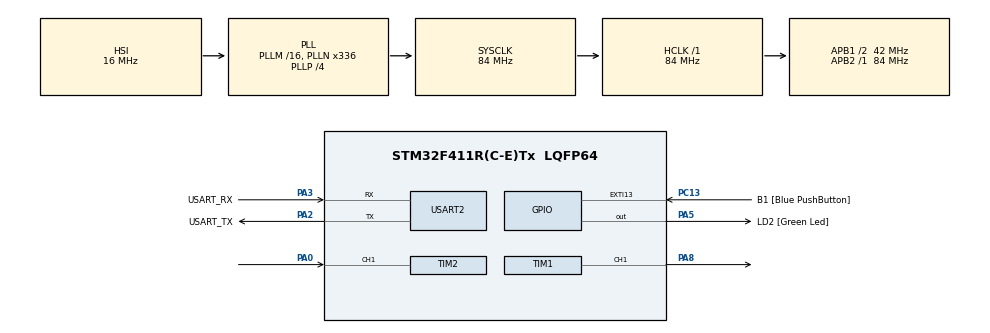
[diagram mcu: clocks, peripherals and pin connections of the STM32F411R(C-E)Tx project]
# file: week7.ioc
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Dma.Request0=TIM2_CH1
Dma.TIM2_CH1.0.Direction=DMA_PERIPH_TO_MEMORY
Dma.TIM2_CH1.0.FIFOMode=DMA_FIFOMODE_DISABLE
Dma.TIM2_CH1.0.Instance=DMA1_Stream5
Dma.TIM2_CH1.0.MemDataAlignment=DMA_MDATAALIGN_WORD
Dma.TIM2_CH1.0.MemInc=DMA_MINC_ENABLE
Dma.TIM2_CH1.0.Mode=DMA_CIRCULAR
Dma.TIM2_CH1.0.PeriphDataAlignment=DMA_PDATAALIGN_WORD
Dma.TIM2_CH1.0.PeriphInc=DMA_PINC_DISABLE
Dma.TIM2_CH1.0.Priority=DMA_PRIORITY_LOW
Mcu.Family=STM32F4
Mcu.Name=STM32F411R(C-E)Tx
Mcu.Package=LQFP64
NVIC.DMA1_Stream5_IRQn=true\:0\:0\:false\:false\:true\:false\:true\:true
NVIC.PriorityGroup=NVIC_PRIORITYGROUP_0
NVIC.TIM2_IRQn=true\:0\:0\:false\:false\:true\:true\:true\:true
PA0-WKUP.Signal=S_TIM2_CH1_ETR
PA13.GPIO_Label=TMS
PA13.Mode=Serial_Wire
PA13.Signal=SYS_JTMS-SWDIO
PA14.GPIO_Label=TCK
PA14.Mode=Serial_Wire
PA14.Signal=SYS_JTCK-SWCLK
PA2.GPIO_Label=USART_TX
PA2.Mode=Asynchronous
PA2.Signal=USART2_TX
PA3.GPIO_Label=USART_RX
PA3.Mode=Asynchronous
PA3.Signal=USART2_RX
PA5.GPIO_Label=LD2 [Green Led]
PA5.Signal=GPIO_Output
PA8.Signal=S_TIM1_CH1
PB3.GPIO_Label=SWO
PB3.Signal=SYS_JTDO-SWO
PC13-ANTI_TAMP.GPIO_Label=B1 [Blue PushButton]
PC13-ANTI_TAMP.GPIO_ModeDefaultEXTI=GPIO_MODE_IT_FALLING
PC13-ANTI_TAMP.Signal=GPXTI13
PC14-OSC32_IN.Mode=LSE-External-Oscillator
PC14-OSC32_IN.Signal=RCC_OSC32_IN
PC15-OSC32_OUT.Mode=LSE-External-Oscillator
PC15-OSC32_OUT.Signal=RCC_OSC32_OUT
PH0\ -\ OSC_IN.Mode=HSE-External-Clock-Source
PH0\ -\ OSC_IN.Signal=RCC_OSC_IN
PH1\ -\ OSC_OUT.Mode=HSE-External-Clock-Source
PH1\ -\ OSC_OUT.Signal=RCC_OSC_OUT
ProjectManager.HeapSize=0x200
ProjectManager.StackSize=0x400
ProjectManager.TargetToolchain=STM32CubeIDE
RCC.48MHZClocksFreq_Value=84000000
RCC.AHBFreq_Value=84000000
RCC.APB1CLKDivider=RCC_HCLK_DIV2
RCC.APB1Freq_Value=42000000
RCC.APB1TimFreq_Value=84000000
RCC.APB2Freq_Value=84000000
RCC.APB2TimFreq_Value=84000000
RCC.CortexFreq_Value=84000000
RCC.FLatency-AdvancedSettings=FLASH_LATENCY_2
RCC.HCLKFreq_Value=84000000
RCC.HSE_VALUE=8000000
RCC.HSI_VALUE=16000000
RCC.PLLN=336
RCC.PLLP=RCC_PLLP_DIV4
RCC.SYSCLKFreq_VALUE=84000000
RCC.SYSCLKSource=RCC_SYSCLKSOURCE_PLLCLK
RCC.VCOOutputFreq_Value=336000000
SH.S_TIM1_CH1.0=TIM1_CH1,PWM Generation1 CH1
SH.S_TIM2_CH1_ETR.0=TIM2_CH1,Input_Capture1_from_TI1
TIM1.Channel-PWM\ Generation1\ CH1=TIM_CHANNEL_1
TIM1.Period=999
TIM1.Prescaler=83
TIM1.Pulse-PWM\ Generation1\ CH1=0
TIM2.Channel-Input_Capture1_from_TI1=TIM_CHANNEL_1
TIM2.Period=294967295
TIM2.Prescaler=83
USART2.VirtualMode=VM_ASYNC
VP_TIM1_VS_ClockSourceINT.Mode=Internal
VP_TIM2_VS_ClockSourceINT.Mode=Internal
board=NUCLEO-F411RE

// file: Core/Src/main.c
/* USER CODE BEGIN Header */
/**
 ******************************************************************************
 * @file           : main.c
 * @brief          : Main program body
 ******************************************************************************
 * @attention
 *
 * Copyright (c) 2023 STMicroelectronics.
 * All rights reserved.
 *
 * This software is licensed under terms that can be found in the LICENSE file
 * in the root directory of this software component.
 * If no LICENSE file comes with this software, it is provided AS-IS.
 *
 ******************************************************************************
 */
/* USER CODE END Header */
#include "main.h"

/* USER CODE BEGIN Includes */
#define IC_BUFFER_SIZE 20
/* USER CODE END Includes */

TIM_HandleTypeDef htim1;
TIM_HandleTypeDef htim2;
DMA_HandleTypeDef hdma_tim2_ch1;

UART_HandleTypeDef huart2;

/* USER CODE BEGIN PV */
uint32_t InputCaptureBuffer[IC_BUFFER_SIZE];
float averageRissingedgePeriod;
uint32_t MotorSetDuty = 0;
uint32_t MotorReadRPM = 0;
uint32_t MotorControlEnable = 0;
uint32_t MotorSetRPM = 0;
/* USER CODE END PV */

void SystemClock_Config(void);
static void MX_GPIO_Init(void);
static void MX_DMA_Init(void);
static void MX_USART2_UART_Init(void);
static void MX_TIM2_Init(void);
static void MX_TIM1_Init(void);
/* USER CODE BEGIN PFP */
float IC_Calc_Period();
/* USER CODE END PFP */

int main(void) {

	/* MCU Configuration--------------------------------------------------------*/

	/* Reset of all peripherals, Initializes the Flash interface and the Systick. */
	HAL_Init();

	/* Configure the system clock */
	SystemClock_Config();

	/* Initialize all configured peripherals */
	MX_GPIO_Init();
	MX_DMA_Init();
	MX_USART2_UART_Init();
	MX_TIM2_Init();
	MX_TIM1_Init();
	/* USER CODE BEGIN 2 */
	HAL_TIM_Base_Start(&htim2);
	HAL_TIM_IC_Start_DMA(&htim2, TIM_CHANNEL_1, InputCaptureBuffer,
	IC_BUFFER_SIZE);
	HAL_TIM_Base_Start(&htim1);
	HAL_TIM_PWM_Start(&htim1, TIM_CHANNEL_1);
	/* USER CODE END 2 */

	/* Infinite loop */
	while (1) {

		/* USER CODE BEGIN 3 */
		static uint32_t timestamp = 0;
		if (MotorControlEnable == 1) {
			if (HAL_GetTick() >= timestamp) {
				if (MotorReadRPM > MotorSetRPM) {
					MotorSetDuty = MotorSetDuty - 1;
				} else if (MotorReadRPM < MotorSetRPM) {
					MotorSetDuty = MotorSetDuty + 1;
				}
				timestamp = HAL_GetTick() + 500;
				averageRissingedgePeriod = IC_Calc_Period();
				__HAL_TIM_SET_COMPARE(&htim1, TIM_CHANNEL_1, MotorSetDuty * 10);
				MotorReadRPM = (1000000) * 60 / 12 / 64
						/ averageRissingedgePeriod;

			}
		} else if (MotorControlEnable == 0) {
			if (HAL_GetTick() >= timestamp) {
				timestamp = HAL_GetTick() + 500;
				averageRissingedgePeriod = IC_Calc_Period();
				__HAL_TIM_SET_COMPARE(&htim1, TIM_CHANNEL_1, MotorSetDuty * 10);
				MotorReadRPM = (1000000) * 60 / 12 / 64
						/ averageRissingedgePeriod;
			}
			MotorSetRPM = MotorReadRPM;
			if (MotorSetDuty == 0) {
				averageRissingedgePeriod = 0;
				MotorReadRPM = 0;
			}
		}
	}
	/* USER CODE END 3 */
}

void SystemClock_Config(void) {
	RCC_OscInitTypeDef RCC_OscInitStruct = { 0 };
	RCC_ClkInitTypeDef RCC_ClkInitStruct = { 0 };

	/** Configure the main internal regulator output voltage
	 */
	__HAL_RCC_PWR_CLK_ENABLE();
	__HAL_PWR_VOLTAGESCALING_CONFIG(PWR_REGULATOR_VOLTAGE_SCALE1);

	/** Initializes the RCC Oscillators according to the specified parameters
	 * in the RCC_OscInitTypeDef structure.
	 */
	RCC_OscInitStruct.OscillatorType = RCC_OSCILLATORTYPE_HSI;
	RCC_OscInitStruct.HSIState = RCC_HSI_ON;
	RCC_OscInitStruct.HSICalibrationValue = RCC_HSICALIBRATION_DEFAULT;
	RCC_OscInitStruct.PLL.PLLState = RCC_PLL_ON;
	RCC_OscInitStruct.PLL.PLLSource = RCC_PLLSOURCE_HSI;
	RCC_OscInitStruct.PLL.PLLM = 16;
	RCC_OscInitStruct.PLL.PLLN = 336;
	RCC_OscInitStruct.PLL.PLLP = RCC_PLLP_DIV4;
	RCC_OscInitStruct.PLL.PLLQ = 4;
	if (HAL_RCC_OscConfig(&RCC_OscInitStruct) != HAL_OK) {
		Error_Handler();
	}

	/** Initializes the CPU, AHB and APB buses clocks
	 */
	RCC_ClkInitStruct.ClockType = RCC_CLOCKTYPE_HCLK | RCC_CLOCKTYPE_SYSCLK
			| RCC_CLOCKTYPE_PCLK1 | RCC_CLOCKTYPE_PCLK2;
	RCC_ClkInitStruct.SYSCLKSource = RCC_SYSCLKSOURCE_PLLCLK;
	RCC_ClkInitStruct.AHBCLKDivider = RCC_SYSCLK_DIV1;
	RCC_ClkInitStruct.APB1CLKDivider = RCC_HCLK_DIV2;
	RCC_ClkInitStruct.APB2CLKDivider = RCC_HCLK_DIV1;

	if (HAL_RCC_ClockConfig(&RCC_ClkInitStruct, FLASH_LATENCY_2) != HAL_OK) {
		Error_Handler();
	}
}

static void MX_TIM1_Init(void) {

	TIM_ClockConfigTypeDef sClockSourceConfig = { 0 };
	TIM_MasterConfigTypeDef sMasterConfig = { 0 };
	TIM_OC_InitTypeDef sConfigOC = { 0 };
	TIM_BreakDeadTimeConfigTypeDef sBreakDeadTimeConfig = { 0 };

	htim1.Instance = TIM1;
	htim1.Init.Prescaler = 83;
	htim1.Init.CounterMode = TIM_COUNTERMODE_UP;
	htim1.Init.Period = 999;
	htim1.Init.ClockDivision = TIM_CLOCKDIVISION_DIV1;
	htim1.Init.RepetitionCounter = 0;
	htim1.Init.AutoReloadPreload = TIM_AUTORELOAD_PRELOAD_DISABLE;
	if (HAL_TIM_Base_Init(&htim1) != HAL_OK) {
		Error_Handler();
	}
	sClockSourceConfig.ClockSource = TIM_CLOCKSOURCE_INTERNAL;
	if (HAL_TIM_ConfigClockSource(&htim1, &sClockSourceConfig) != HAL_OK) {
		Error_Handler();
	}
	if (HAL_TIM_PWM_Init(&htim1) != HAL_OK) {
		Error_Handler();
	}
	sMasterConfig.MasterOutputTrigger = TIM_TRGO_RESET;
	sMasterConfig.MasterSlaveMode = TIM_MASTERSLAVEMODE_DISABLE;
	if (HAL_TIMEx_MasterConfigSynchronization(&htim1, &sMasterConfig)
			!= HAL_OK) {
		Error_Handler();
	}
	sConfigOC.OCMode = TIM_OCMODE_PWM1;
	sConfigOC.Pulse = 500;
	sConfigOC.OCPolarity = TIM_OCPOLARITY_HIGH;
	sConfigOC.OCNPolarity = TIM_OCNPOLARITY_HIGH;
	sConfigOC.OCFastMode = TIM_OCFAST_DISABLE;
	sConfigOC.OCIdleState = TIM_OCIDLESTATE_RESET;
	sConfigOC.OCNIdleState = TIM_OCNIDLESTATE_RESET;
	if (HAL_TIM_PWM_ConfigChannel(&htim1, &sConfigOC, TIM_CHANNEL_1)
			!= HAL_OK) {
		Error_Handler();
	}
	sBreakDeadTimeConfig.OffStateRunMode = TIM_OSSR_DISABLE;
	sBreakDeadTimeConfig.OffStateIDLEMode = TIM_OSSI_DISABLE;
	sBreakDeadTimeConfig.LockLevel = TIM_LOCKLEVEL_OFF;
	sBreakDeadTimeConfig.DeadTime = 0;
	sBreakDeadTimeConfig.BreakState = TIM_BREAK_DISABLE;
	sBreakDeadTimeConfig.BreakPolarity = TIM_BREAKPOLARITY_HIGH;
	sBreakDeadTimeConfig.AutomaticOutput = TIM_AUTOMATICOUTPUT_DISABLE;
	if (HAL_TIMEx_ConfigBreakDeadTime(&htim1, &sBreakDeadTimeConfig)
			!= HAL_OK) {
		Error_Handler();
	}
	HAL_TIM_MspPostInit(&htim1);

}

static void MX_TIM2_Init(void) {

	TIM_ClockConfigTypeDef sClockSourceConfig = { 0 };
	TIM_MasterConfigTypeDef sMasterConfig = { 0 };
	TIM_IC_InitTypeDef sConfigIC = { 0 };

	htim2.Instance = TIM2;
	htim2.Init.Prescaler = 83;
	htim2.Init.CounterMode = TIM_COUNTERMODE_UP;
	htim2.Init.Period = 294967295;
	htim2.Init.ClockDivision = TIM_CLOCKDIVISION_DIV1;
	htim2.Init.AutoReloadPreload = TIM_AUTORELOAD_PRELOAD_DISABLE;
	if (HAL_TIM_Base_Init(&htim2) != HAL_OK) {
		Error_Handler();
	}
	sClockSourceConfig.ClockSource = TIM_CLOCKSOURCE_INTERNAL;
	if (HAL_TIM_ConfigClockSource(&htim2, &sClockSourceConfig) != HAL_OK) {
		Error_Handler();
	}
	if (HAL_TIM_IC_Init(&htim2) != HAL_OK) {
		Error_Handler();
	}
	sMasterConfig.MasterOutputTrigger = TIM_TRGO_RESET;
	sMasterConfig.MasterSlaveMode = TIM_MASTERSLAVEMODE_DISABLE;
	if (HAL_TIMEx_MasterConfigSynchronization(&htim2, &sMasterConfig)
			!= HAL_OK) {
		Error_Handler();
	}
	sConfigIC.ICPolarity = TIM_INPUTCHANNELPOLARITY_RISING;
	sConfigIC.ICSelection = TIM_ICSELECTION_DIRECTTI;
	sConfigIC.ICPrescaler = TIM_ICPSC_DIV1;
	sConfigIC.ICFilter = 0;
	if (HAL_TIM_IC_ConfigChannel(&htim2, &sConfigIC, TIM_CHANNEL_1) != HAL_OK) {
		Error_Handler();
	}

}

static void MX_USART2_UART_Init(void) {

	huart2.Instance = USART2;
	huart2.Init.BaudRate = 115200;
	huart2.Init.WordLength = UART_WORDLENGTH_8B;
	huart2.Init.StopBits = UART_STOPBITS_1;
	huart2.Init.Parity = UART_PARITY_NONE;
	huart2.Init.Mode = UART_MODE_TX_RX;
	huart2.Init.HwFlowCtl = UART_HWCONTROL_NONE;
	huart2.Init.OverSampling = UART_OVERSAMPLING_16;
	if (HAL_UART_Init(&huart2) != HAL_OK) {
		Error_Handler();
	}

}

static void MX_DMA_Init(void) {

	/* DMA controller clock enable */
	__HAL_RCC_DMA1_CLK_ENABLE();

	/* DMA interrupt init */
	/* DMA1_Stream5_IRQn interrupt configuration */
	HAL_NVIC_SetPriority(DMA1_Stream5_IRQn, 0, 0);
	HAL_NVIC_EnableIRQ(DMA1_Stream5_IRQn);

}

static void MX_GPIO_Init(void) {
	GPIO_InitTypeDef GPIO_InitStruct = { 0 };

	/* GPIO Ports Clock Enable */
	__HAL_RCC_GPIOC_CLK_ENABLE();
	__HAL_RCC_GPIOH_CLK_ENABLE();
	__HAL_RCC_GPIOA_CLK_ENABLE();
	__HAL_RCC_GPIOB_CLK_ENABLE();

	/*Configure GPIO pin Output Level */
	HAL_GPIO_WritePin(LD2_GPIO_Port, LD2_Pin, GPIO_PIN_RESET);

	/*Configure GPIO pin : B1_Pin */
	GPIO_InitStruct.Pin = B1_Pin;
	GPIO_InitStruct.Mode = GPIO_MODE_IT_FALLING;
	GPIO_InitStruct.Pull = GPIO_NOPULL;
	HAL_GPIO_Init(B1_GPIO_Port, &GPIO_InitStruct);

	/*Configure GPIO pin : LD2_Pin */
	GPIO_InitStruct.Pin = LD2_Pin;
	GPIO_InitStruct.Mode = GPIO_MODE_OUTPUT_PP;
	GPIO_InitStruct.Pull = GPIO_NOPULL;
	GPIO_InitStruct.Speed = GPIO_SPEED_FREQ_LOW;
	HAL_GPIO_Init(LD2_GPIO_Port, &GPIO_InitStruct);

}

/* USER CODE BEGIN 4 */
float IC_Calc_Period() {
	uint32_t currentDMAPointer = IC_BUFFER_SIZE
			- __HAL_DMA_GET_COUNTER((htim2.hdma[1]));
	uint32_t lastValidPointer = (currentDMAPointer - 1 + IC_BUFFER_SIZE)
			% IC_BUFFER_SIZE;
	uint32_t i = (lastValidPointer + IC_BUFFER_SIZE - 6) % IC_BUFFER_SIZE;
	uint32_t sumdiff = 0;
	while (i != lastValidPointer) {
		uint32_t FirstCapture = InputCaptureBuffer[i];
		uint32_t NextCapture = InputCaptureBuffer[(i + 1) % IC_BUFFER_SIZE];
		sumdiff += NextCapture - FirstCapture;
		i = (i + 1) % IC_BUFFER_SIZE;
	}
	return sumdiff / 5.0;
}
/* USER CODE END 4 */

void Error_Handler(void) {
	__disable_irq();
	while (1) {
	}
}
